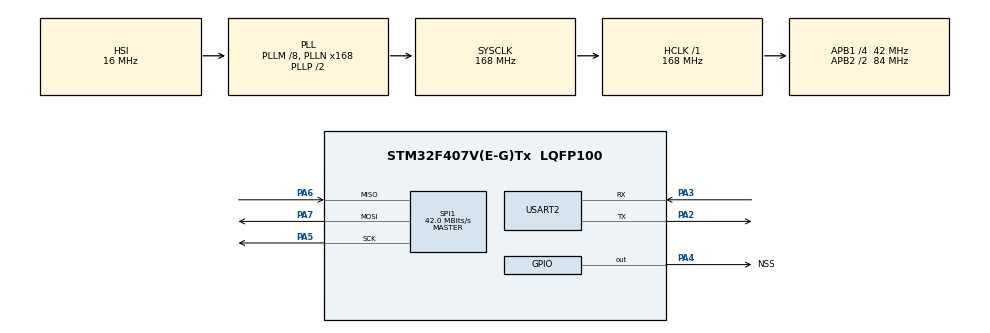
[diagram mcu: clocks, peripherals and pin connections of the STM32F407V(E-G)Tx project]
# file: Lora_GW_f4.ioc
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Mcu.Family=STM32F4
Mcu.Name=STM32F407V(E-G)Tx
Mcu.Package=LQFP100
NVIC.PriorityGroup=NVIC_PRIORITYGROUP_4
PA13.Mode=Serial_Wire
PA13.Signal=SYS_JTMS-SWDIO
PA14.Mode=Serial_Wire
PA14.Signal=SYS_JTCK-SWCLK
PA2.Mode=Asynchronous
PA2.Signal=USART2_TX
PA3.Mode=Asynchronous
PA3.Signal=USART2_RX
PA4.GPIO_Label=NSS
PA4.Signal=GPIO_Output
PA5.Mode=Full_Duplex_Master
PA5.Signal=SPI1_SCK
PA6.Mode=Full_Duplex_Master
PA6.Signal=SPI1_MISO
PA7.Mode=Full_Duplex_Master
PA7.Signal=SPI1_MOSI
PH0-OSC_IN.Mode=HSE-External-Oscillator
PH0-OSC_IN.Signal=RCC_OSC_IN
PH1-OSC_OUT.Mode=HSE-External-Oscillator
PH1-OSC_OUT.Signal=RCC_OSC_OUT
ProjectManager.HeapSize=0x200
ProjectManager.StackSize=0x400
ProjectManager.TargetToolchain=SW4STM32
RCC.48MHZClocksFreq_Value=84000000
RCC.AHBFreq_Value=168000000
RCC.APB1CLKDivider=RCC_HCLK_DIV4
RCC.APB1Freq_Value=42000000
RCC.APB1TimFreq_Value=84000000
RCC.APB2CLKDivider=RCC_HCLK_DIV2
RCC.APB2Freq_Value=84000000
RCC.APB2TimFreq_Value=168000000
RCC.CortexFreq_Value=168000000
RCC.HCLKFreq_Value=168000000
RCC.HSE_VALUE=8000000
RCC.HSI_VALUE=16000000
RCC.LSE_VALUE=32768
RCC.PLLM=8
RCC.PLLN=168
RCC.SYSCLKFreq_VALUE=168000000
RCC.SYSCLKSource=RCC_SYSCLKSOURCE_PLLCLK
RCC.VCOOutputFreq_Value=336000000
SPI1.CalculateBaudRate=42.0 MBits/s
SPI1.Direction=SPI_DIRECTION_2LINES
SPI1.Mode=SPI_MODE_MASTER
SPI1.VirtualType=VM_MASTER
USART2.VirtualMode=VM_ASYNC
board=Lora_GW_f4

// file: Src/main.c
/**
  ******************************************************************************
  * File Name          : main.c
  * Description        : Main program body
  ******************************************************************************
  ** This notice applies to any and all portions of this file
  * that are not between comment pairs USER CODE BEGIN and
  * USER CODE END. Other portions of this file, whether
  * inserted by the user or by software development tools
  * are owned by their respective copyright owners.
  *
  * COPYRIGHT(c) 2018 STMicroelectronics
  *
  * Redistribution and use in source and binary forms, with or without modification,
  * are permitted provided that the following conditions are met:
  *   1. Redistributions of source code must retain the above copyright notice,
  *      this list of conditions and the following disclaimer.
  *   2. Redistributions in binary form must reproduce the above copyright notice,
  *      this list of conditions and the following disclaimer in the documentation
  *      and/or other materials provided with the distribution.
  *   3. Neither the name of STMicroelectronics nor the names of its contributors
  *      may be used to endorse or promote products derived from this software
  *      without specific prior written permission.
  *
  * THIS SOFTWARE IS PROVIDED BY THE COPYRIGHT HOLDERS AND CONTRIBUTORS "AS IS"
  * AND ANY EXPRESS OR IMPLIED WARRANTIES, INCLUDING, BUT NOT LIMITED TO, THE
  * IMPLIED WARRANTIES OF MERCHANTABILITY AND FITNESS FOR A PARTICULAR PURPOSE ARE
  * DISCLAIMED. IN NO EVENT SHALL THE COPYRIGHT HOLDER OR CONTRIBUTORS BE LIABLE
  * FOR ANY DIRECT, INDIRECT, INCIDENTAL, SPECIAL, EXEMPLARY, OR CONSEQUENTIAL
  * DAMAGES (INCLUDING, BUT NOT LIMITED TO, PROCUREMENT OF SUBSTITUTE GOODS OR
  * SERVICES; LOSS OF USE, DATA, OR PROFITS; OR BUSINESS INTERRUPTION) HOWEVER
  * CAUSED AND ON ANY THEORY OF LIABILITY, WHETHER IN CONTRACT, STRICT LIABILITY,
  * OR TORT (INCLUDING NEGLIGENCE OR OTHERWISE) ARISING IN ANY WAY OUT OF THE USE
  * OF THIS SOFTWARE, EVEN IF ADVISED OF THE POSSIBILITY OF SUCH DAMAGE.
  *
  ******************************************************************************
  */

#include "main.h"
#include "stm32f4xx_hal.h"
#include "STM32_SX1278.h"
/* USER CODE BEGIN Includes */
pack packet_sent, packet_received, ACK;

char msgid[30],msgauc[30],msg[30],msgacc[30];
uint8_t Node_Addr[4], val = 1;
uint8_t number = 0, i=1 ;
uint8_t GW_Addr = 9;
uint8_t state;
/* USER CODE END Includes */

SPI_HandleTypeDef hspi1;

UART_HandleTypeDef huart2;

/* USER CODE BEGIN PV */
/* Private variables ---------------------------------------------------------*/

/* USER CODE END PV */

void SystemClock_Config(void);
static void MX_GPIO_Init(void);
static void MX_SPI1_Init(void);
static void MX_USART2_UART_Init(void);

/* USER CODE BEGIN PFP */
/* Private function prototypes -----------------------------------------------*/

/* USER CODE END PFP */

/* USER CODE BEGIN 0 */
void UART_print(char msg[])
{
	HAL_UART_Transmit(&huart2, (uint8_t *)&msg[0], strlen(msg),100);
}
// Phien lam viec cua Gateway: Add dia chi Node
void check_NodeID(char*msgid)
{
	  state = receivePacketTimeoutACK(&hspi1, 2000);
    if( state == 0 )
    {
			for (uint8_t i = 0; i < packet_received.length; i++)
    {
      msgid[i] = (char)packet_received.data[i];
    }
			UART_print("\nNodeID: ");
		  UART_print(msgid);
		if (msgid[0] >= '1' && msgid[0] <= '9')
		{
	  Node_Addr[number] = (uint8_t)msgid[0];
		number++;
		UART_print("\nAdd NodeID Succesful!\n");
	  }
		}
    else
		UART_print("\nAdd NodeID Failed!\n");
}
//Phien lam viec cua Gateway: Kiem tra ban tin "AuC"
//Kiem tra ban tin xac thuc co dung dang
 bool check_msgAuC(char *msgauc)
{
	UART_print("\nCheck msg Auc ?");
	state = receivePacketTimeoutACK(&hspi1, 2000);
	if( state == 0 )
    	{
			for (uint8_t i = 0; i < packet_received.length; i++)
			{
				msgauc[i] = (char)packet_received.data[i];
			}
		if((msgauc[0]=='s')&&(msgauc[1]=='a')&&(msgauc[2]=='n')&&(msgauc[3]=='s')&&(msgauc[4]=='l')&&(msgauc[5]=='a')&&(msgauc[6]=='b'))
			{
				UART_print("\nMessage AuC: ");
				UART_print(msgauc);
				UART_print("\nCheck: Succesful Authenticaton!");
				return true;
			}
    	}
	else
	{
		UART_print("\nCheck: Failed Authenticaton!");
		return false;
	}
	return false;
 }
// Phien lam viec cua Gateway: Gui ban tin "accept",
void MAC_Process(uint8_t Node_Addr)
{
	UART_print("\n\nStart send msg Acc");
	// Check sending statuscx
	// uint8_t e = sendPacketTimeout_sendtime(&hspi1, Node_Addr,"accept");
	sendPacketTimeout_sendtime(&hspi1, Node_Addr,"accept");
	// Check sending statuscx
  state = receivePacketTimeoutACK(&hspi1, 10000);
  if(state == 0 )
  {
		UART_print("\nSend acc Succesful!");
		for (uint8_t i = 0; i < packet_received.length; i++)
    {
      msg[i] = (char)packet_received.data[i];
    }
		UART_print("\n\nStart receive message from Node");
		UART_print("\nData from Node: ");
		UART_print(msg);
  }
	else
		{
		UART_print("\nSend acc Fail!\n");
    }
  HAL_Delay(2500);
}

/* USER CODE END PFP */

/* USER CODE BEGIN 0 */
void Receive_msg(SPI_HandleTypeDef *hspi, char msg[])
{
 uint8_t val = receivePacketTimeout(hspi, 1000);
		if ( val == 0 )
  {
    for (uint8_t i = 0; i < packet_received.length; i++)
    {
      msg[i] = (char)packet_received.data[i];
    }
		UART_print("\nMessage: ");
		UART_print(msg);
  }
  else {
		UART_print("\nErorr");
  }
}
/* USER CODE END 0 */

int main(void)
{

  /* MCU Configuration----------------------------------------------------------*/

  /* Reset of all peripherals, Initializes the Flash interface and the Systick. */
  HAL_Init();

  /* Configure the system clock */
  SystemClock_Config();

  /* Initialize all configured peripherals */
  MX_GPIO_Init();
  MX_SPI1_Init();
  MX_USART2_UART_Init();

  /* USER CODE BEGIN 2 */
  UART_print("\nStart configuring LoRa module");
    SX1278();
  	// Power ON the module
    ON(&hspi1);
    UART_print("\nSetting Power ON");
    // Set transmission mode and print the result
    setMode(&hspi1, 4);
    UART_print("\nSetting Mode 4");
    // Set header
    setHeaderON(&hspi1);
    UART_print("\nSetting Header ON");
    // Select frequency channel
  	setChannel(&hspi1,0x6C4000);
    UART_print("\nSetting Channel: CH = 11, 433MHz");
    // Set CRC
    setCRC_ON(&hspi1);
    UART_print("\nSetting CRC ON");
    // Select output power (Max, High or Low)
  	setPower(&hspi1,'H');
    UART_print("\nSetting Power: H");
    // Set the node address and print the result
  	setNodeAddress(&hspi1,GW_Addr);
    UART_print("\nSetting Node address: 9");
    // Print a success message
    UART_print("\nLoRa successfully configured\n");
    /* USER CODE END 2 */

    /* Infinite loop */
  	check_NodeID(msgid);
  	HAL_Delay(1500);
  	check_msgAuC(msgauc);
  	HAL_Delay(2500);
  /* USER CODE END 2 */

  /* Infinite loop */
  while (1)
  {
	  MAC_Process(Node_Addr[number]);
	  				if(++number == 4) number = 0;
	  		else number++;
	  		HAL_Delay(1000);
	  UART_print("Hello world\n");
  }

}

/** System Clock Configuration
*/
void SystemClock_Config(void)
{

  RCC_OscInitTypeDef RCC_OscInitStruct;
  RCC_ClkInitTypeDef RCC_ClkInitStruct;

    /**Configure the main internal regulator output voltage
    */
  __HAL_RCC_PWR_CLK_ENABLE();

  __HAL_PWR_VOLTAGESCALING_CONFIG(PWR_REGULATOR_VOLTAGE_SCALE1);

    /**Initializes the CPU, AHB and APB busses clocks
    */
  RCC_OscInitStruct.OscillatorType = RCC_OSCILLATORTYPE_HSI;
  RCC_OscInitStruct.HSIState = RCC_HSI_ON;
  RCC_OscInitStruct.HSICalibrationValue = 16;
  RCC_OscInitStruct.PLL.PLLState = RCC_PLL_ON;
  RCC_OscInitStruct.PLL.PLLSource = RCC_PLLSOURCE_HSI;
  RCC_OscInitStruct.PLL.PLLM = 8;
  RCC_OscInitStruct.PLL.PLLN = 168;
  RCC_OscInitStruct.PLL.PLLP = RCC_PLLP_DIV2;
  RCC_OscInitStruct.PLL.PLLQ = 4;
  if (HAL_RCC_OscConfig(&RCC_OscInitStruct) != HAL_OK)
  {
    _Error_Handler(__FILE__, __LINE__);
  }

    /**Initializes the CPU, AHB and APB busses clocks
    */
  RCC_ClkInitStruct.ClockType = RCC_CLOCKTYPE_HCLK|RCC_CLOCKTYPE_SYSCLK
                              |RCC_CLOCKTYPE_PCLK1|RCC_CLOCKTYPE_PCLK2;
  RCC_ClkInitStruct.SYSCLKSource = RCC_SYSCLKSOURCE_PLLCLK;
  RCC_ClkInitStruct.AHBCLKDivider = RCC_SYSCLK_DIV1;
  RCC_ClkInitStruct.APB1CLKDivider = RCC_HCLK_DIV4;
  RCC_ClkInitStruct.APB2CLKDivider = RCC_HCLK_DIV2;

  if (HAL_RCC_ClockConfig(&RCC_ClkInitStruct, FLASH_LATENCY_5) != HAL_OK)
  {
    _Error_Handler(__FILE__, __LINE__);
  }

    /**Configure the Systick interrupt time
    */
  HAL_SYSTICK_Config(HAL_RCC_GetHCLKFreq()/1000);

    /**Configure the Systick
    */
  HAL_SYSTICK_CLKSourceConfig(SYSTICK_CLKSOURCE_HCLK);

  /* SysTick_IRQn interrupt configuration */
  HAL_NVIC_SetPriority(SysTick_IRQn, 0, 0);
}

/* SPI1 init function */
static void MX_SPI1_Init(void)
{

  /* SPI1 parameter configuration*/
  hspi1.Instance = SPI1;
  hspi1.Init.Mode = SPI_MODE_MASTER;
  hspi1.Init.Direction = SPI_DIRECTION_2LINES;
  hspi1.Init.DataSize = SPI_DATASIZE_8BIT;
  hspi1.Init.CLKPolarity = SPI_POLARITY_LOW;
  hspi1.Init.CLKPhase = SPI_PHASE_1EDGE;
  hspi1.Init.NSS = SPI_NSS_SOFT;
  hspi1.Init.BaudRatePrescaler = SPI_BAUDRATEPRESCALER_2;
  hspi1.Init.FirstBit = SPI_FIRSTBIT_MSB;
  hspi1.Init.TIMode = SPI_TIMODE_DISABLE;
  hspi1.Init.CRCCalculation = SPI_CRCCALCULATION_DISABLE;
  hspi1.Init.CRCPolynomial = 10;
  if (HAL_SPI_Init(&hspi1) != HAL_OK)
  {
    _Error_Handler(__FILE__, __LINE__);
  }

}

/* USART2 init function */
static void MX_USART2_UART_Init(void)
{

  huart2.Instance = USART2;
  huart2.Init.BaudRate = 115200;
  huart2.Init.WordLength = UART_WORDLENGTH_8B;
  huart2.Init.StopBits = UART_STOPBITS_1;
  huart2.Init.Parity = UART_PARITY_NONE;
  huart2.Init.Mode = UART_MODE_TX_RX;
  huart2.Init.HwFlowCtl = UART_HWCONTROL_NONE;
  huart2.Init.OverSampling = UART_OVERSAMPLING_16;
  if (HAL_UART_Init(&huart2) != HAL_OK)
  {
    _Error_Handler(__FILE__, __LINE__);
  }

}

/** Configure pins as
        * Analog
        * Input
        * Output
        * EVENT_OUT
        * EXTI
*/
static void MX_GPIO_Init(void)
{

  GPIO_InitTypeDef GPIO_InitStruct;

  /* GPIO Ports Clock Enable */
  __HAL_RCC_GPIOH_CLK_ENABLE();
  __HAL_RCC_GPIOA_CLK_ENABLE();

  /*Configure GPIO pin Output Level */
  HAL_GPIO_WritePin(GPIOA, GPIO_PIN_4, GPIO_PIN_RESET);

  /*Configure GPIO pin : PA4 */
  GPIO_InitStruct.Pin = GPIO_PIN_4;
  GPIO_InitStruct.Mode = GPIO_MODE_OUTPUT_PP;
  GPIO_InitStruct.Pull = GPIO_NOPULL;
  GPIO_InitStruct.Speed = GPIO_SPEED_FREQ_LOW;
  HAL_GPIO_Init(GPIOA, &GPIO_InitStruct);

}

void _Error_Handler(char * file, int line)
{
  while(1)
  {
  }
}

/************************ (C) COPYRIGHT STMicroelectronics *****END OF FILE****/
